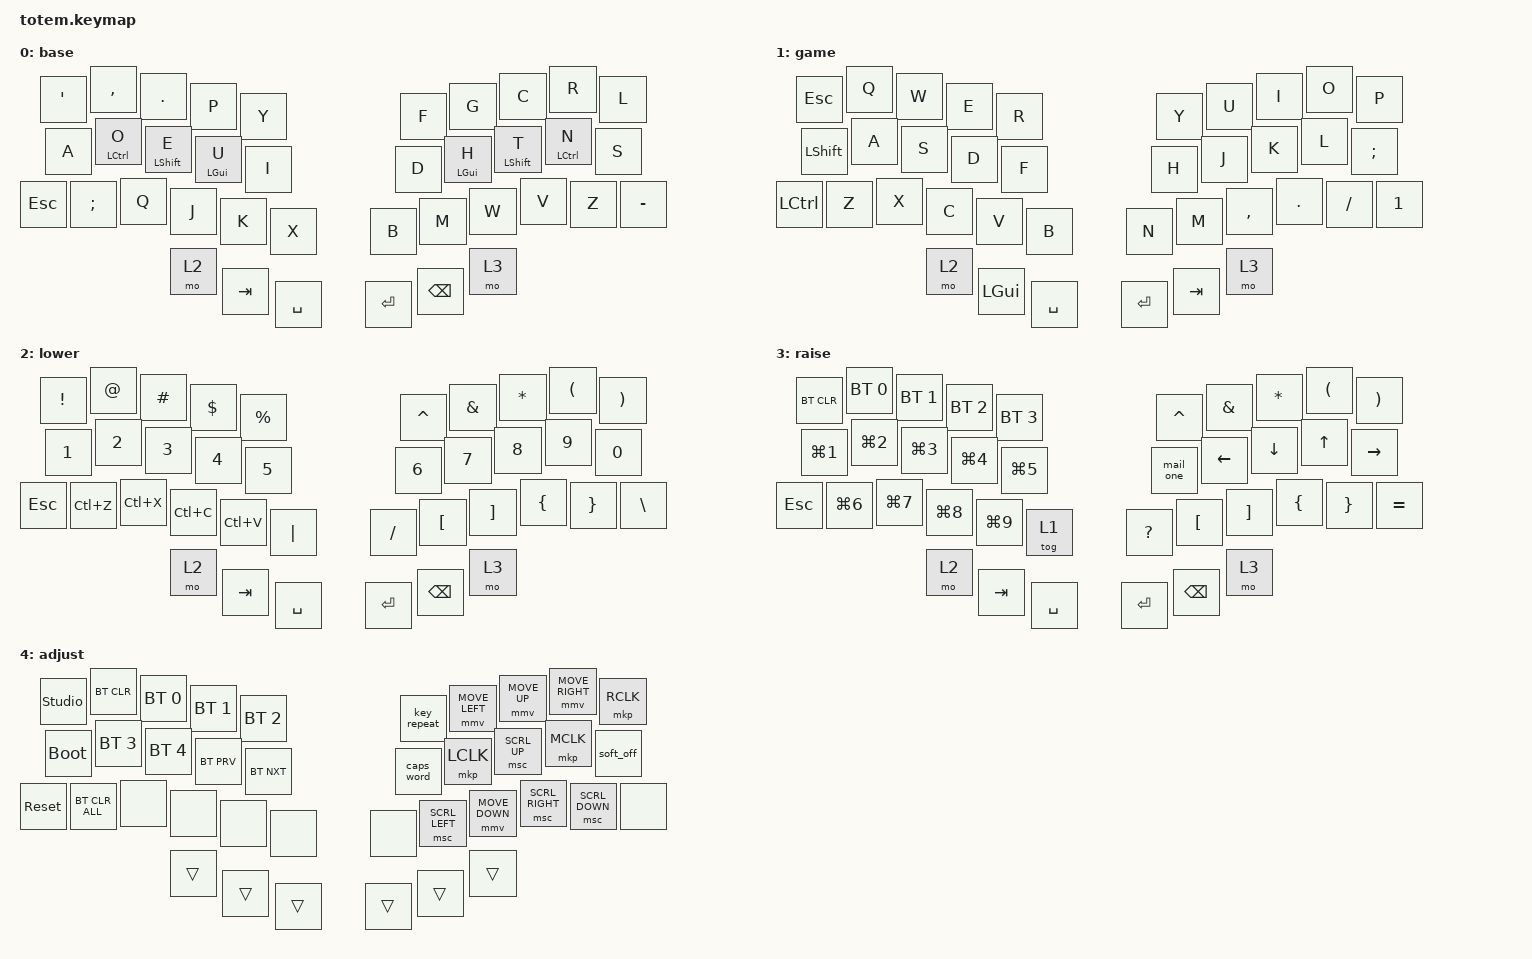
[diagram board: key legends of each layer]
#include <behaviors.dtsi>
#include <dt-bindings/zmk/bt.h>
#include <dt-bindings/zmk/keys.h>
#include <dt-bindings/zmk/pointing.h>

/ {
    behaviors {
        hml: home_row_mod_left {
            compatible = "zmk,behavior-hold-tap";
            #binding-cells = <2>;
            flavor = "balanced";
            tapping-term-ms = <280>;
            quick-tap-ms = <175>;
            require-prior-idle-ms = <125>;
            bindings = <&kp>, <&kp>;
            hold-trigger-key-positions = <5 6 7 8 9 15 16 17 18 19 26 27 28 29 30 31 35 36 37>;
            hold-trigger-on-release;
        };

        hmr: home_row_mod_right {
            compatible = "zmk,behavior-hold-tap";
            #binding-cells = <2>;
            flavor = "balanced";
            tapping-term-ms = <280>;
            quick-tap-ms = <175>;
            require-prior-idle-ms = <125>;
            bindings = <&kp>, <&kp>;
            hold-trigger-key-positions = <0 1 2 3 4 10 11 12 13 14 20 21 22 23 24 25 32 33 34>;
            hold-trigger-on-release;
        };
    };

    combos {
        compatible = "zmk,combos";

        combo_esc {
            timeout-ms = <50>;
            key-positions = <0 1>;
            bindings = <&kp ESC>;
        };
    };

    macros {
        mail_one: mail_one {
            compatible = "zmk,behavior-macro";
            #binding-cells = <0>;
            bindings = <&macro_tap &kp S &kp S &kp R &kp I &kp J &kp I &kp I &kp T &kp H &kp AT &kp G &kp M &kp A &kp I &kp L &kp DOT &kp C &kp O &kp M>;
        };
    };

    conditional_layers {
        compatible = "zmk,conditional-layers";

        adjust_layer {
            if-layers = <2 3>;
            then-layer = <4>;
        };
    };

    keymap {
        compatible = "zmk,keymap";

        default_layer {
            display-name = "base";
//          +-----+-----+-----+-----+-----+         +-----+-----+-----+-----+-----+
//          |  '  |  ,  |  .  |  P  |  Y  |         |  F  |  G  |  C  |  R  |  L  |
//          +-----+-----+-----+-----+-----+         +-----+-----+-----+-----+-----+
//          |  A  |C/O  |S/E  |G/U  |  I  |         |  D  |G/H  |S/T  |C/N  |  S  |
//    +-----+-----+-----+-----+-----+-----+         +-----+-----+-----+-----+-----+-----+
//    | ESC |  ;  |  Q  |  J  |  K  |  X  |         |  B  |  M  |  W  |  V  |  Z  |  -  |
//    +-----+-----+-----+-----+-----+-----+         +-----+-----+-----+-----+-----+-----+
//                         +-----+-----+-----+   +-----+-----+-----+
//                         | LWR | TAB | SPC |   | ENT |  <- | RSE |
//                         +-----+-----+-----+   +-----+-----+-----+
            bindings = <
                &kp SQT   &kp COMMA &kp DOT &kp P    &kp Y      &kp F   &kp G    &kp C     &kp R     &kp L
                &kp A     &hml LCTRL O &hml LSHFT E &hml LGUI U &kp I      &kp D   &hmr LGUI H &hmr LSHFT T &hmr LCTRL N &kp S
       &kp ESC  &kp SEMI  &kp Q     &kp J   &kp K    &kp X      &kp B   &kp M    &kp W     &kp V     &kp Z  &kp MINUS
                                    &mo 2   &kp TAB  &kp SPACE  &kp RET &kp BSPC &mo 3
            >;
        };

        qwerty_layer {
            display-name = "game";
//          +-----+-----+-----+-----+-----+         +-----+-----+-----+-----+-----+
//          | ESC |  Q  |  W  |  E  |  R  |         |  Y  |  U  |  I  |  O  |  P  |
//          +-----+-----+-----+-----+-----+         +-----+-----+-----+-----+-----+
//          |SHFT |  A  |  S  |  D  |  F  |         |  H  |  J  |  K  |  L  |  ;  |
//    +-----+-----+-----+-----+-----+-----+         +-----+-----+-----+-----+-----+-----+
//    |CTRL |  Z  |  X  |  C  |  V  |  B  |         |  N  |  M  |  ,  |  .  |  /  |  1  |
//    +-----+-----+-----+-----+-----+-----+         +-----+-----+-----+-----+-----+-----+
//                         +-----+-----+-----+   +-----+-----+-----+
//                         | LWR | GUI | SPC |   | ENT | TAB | RSE |
//                         +-----+-----+-----+   +-----+-----+-----+
            bindings = <
                &kp ESC   &kp Q &kp W &kp E &kp R      &kp Y &kp U &kp I     &kp O   &kp P
                &kp LSHFT &kp A &kp S &kp D &kp F      &kp H &kp J &kp K     &kp L   &kp SEMI
      &kp LCTRL &kp Z     &kp X &kp C &kp V &kp B      &kp N &kp M &kp COMMA &kp DOT &kp FSLH &kp N1
                             &mo 2 &kp LGUI &kp SPACE  &kp RET   &kp TAB &mo 3
            >;
        };

        lower_layer {
            display-name = "lower";
//          +-----+-----+-----+-----+-----+         +-----+-----+-----+-----+-----+
//          |  !  |  @  |  #  |  $  |  %  |         |  ^  |  &  |  *  |  (  |  )  |
//          +-----+-----+-----+-----+-----+         +-----+-----+-----+-----+-----+
//          |  1  |  2  |  3  |  4  |  5  |         |  6  |  7  |  8  |  9  |  0  |
//    +-----+-----+-----+-----+-----+-----+         +-----+-----+-----+-----+-----+-----+
//    | ESC |UNDO | CUT | CPY | PST |PIPE |         |  /  |  [  |  ]  |  {  |  }  |  \  |
//    +-----+-----+-----+-----+-----+-----+         +-----+-----+-----+-----+-----+-----+
//                         +-----+-----+-----+   +-----+-----+-----+
//                         | LWR | TAB | SPC |   | ENT |  <- | RSE |
//                         +-----+-----+-----+   +-----+-----+-----+
            bindings = <
                &kp EXCL  &kp AT    &kp HASH  &kp DLLR  &kp PRCNT      &kp CARET &kp AMPS &kp ASTRK &kp LPAR &kp RPAR
                &kp N1    &kp N2    &kp N3    &kp N4    &kp N5         &kp N6    &kp N7   &kp N8    &kp N9   &kp N0
       &kp ESC  &kp LC(Z) &kp LC(X) &kp LC(C) &kp LC(V) &kp PIPE       &kp FSLH  &kp LBKT &kp RBKT &kp LBRC &kp RBRC &kp BSLH
                                    &mo 2     &kp TAB   &kp SPACE      &kp RET   &kp BSPC &mo 3
            >;
        };

        raise_layer {
            display-name = "raise";
//          +-----+-----+-----+-----+-----+         +-----+-----+-----+-----+-----+
//          |BTCLR| BT0 | BT1 | BT2 | BT3 |         |  ^  |  &  |  *  |  (  |  )  |
//          +-----+-----+-----+-----+-----+         +-----+-----+-----+-----+-----+
//          | W1  | W2  | W3  | W4  | W5  |         |MAIL |LEFT |DOWN | UP  |RIGHT|
//    +-----+-----+-----+-----+-----+-----+         +-----+-----+-----+-----+-----+-----+
//    | ESC | W6  | W7  | W8  | W9  |GAME |         |  ?  |  [  |  ]  |  {  |  }  |  =  |
//    +-----+-----+-----+-----+-----+-----+         +-----+-----+-----+-----+-----+-----+
//                         +-----+-----+-----+   +-----+-----+-----+
//                         | LWR | TAB | SPC |   | ENT |  <- | RSE |
//                         +-----+-----+-----+   +-----+-----+-----+
            bindings = <
                &bt BT_CLR &bt BT_SEL 0 &bt BT_SEL 1 &bt BT_SEL 2 &bt BT_SEL 3    &kp CARET &kp AMPS &kp ASTRK &kp LPAR  &kp RPAR
                &kp LG(N1) &kp LG(N2)   &kp LG(N3)   &kp LG(N4)   &kp LG(N5)      &mail_one &kp LEFT &kp DOWN  &kp UP    &kp RIGHT
       &kp ESC  &kp LG(N6) &kp LG(N7)   &kp LG(N8)   &kp LG(N9) &tog 1            &kp QMARK  &kp LBKT &kp RBKT  &kp LBRC  &kp RBRC &kp EQUAL
                                            &mo 2    &kp TAB    &kp SPACE         &kp RET   &kp BSPC  &mo 3
            >;
        };

        adjust_layer {
            display-name = "adjust";
//          +-----+-----+-----+-----+-----+         +-----+-----+-----+-----+-----+
//          |STDIO|BTCLR| BT0 | BT1 | BT2 |         | RPT | M-L | M-U | M-R |RCLK |
//          +-----+-----+-----+-----+-----+         +-----+-----+-----+-----+-----+
//          |BOOT | BT3 | BT4 |BTPRV|BTNXT|         |CAPS |LCLK | S-U |MCLK | OFF |
//    +-----+-----+-----+-----+-----+-----+         +-----+-----+-----+-----+-----+-----+
//    |RST  |BTALL|     |     |     |     |         |     | S-L | M-D | S-R | S-D |     |
//    +-----+-----+-----+-----+-----+-----+         +-----+-----+-----+-----+-----+-----+
//                         +-----+-----+-----+   +-----+-----+-----+
//                         |     |     |     |   |     |     |     |
//                         +-----+-----+-----+   +-----+-----+-----+
            bindings = <
                &studio_unlock &bt BT_CLR     &bt BT_SEL 0 &bt BT_SEL 1 &bt BT_SEL 2       &key_repeat &mmv MOVE_LEFT  &mmv MOVE_UP   &mmv MOVE_RIGHT &mkp RCLK
                &bootloader    &bt BT_SEL 3   &bt BT_SEL 4 &bt BT_PRV   &bt BT_NXT         &caps_word  &mkp LCLK       &msc SCRL_UP   &mkp MCLK       &soft_off
                &sys_reset     &bt BT_CLR_ALL &none        &none        &none        &none  &none       &msc SCRL_LEFT  &mmv MOVE_DOWN &msc SCRL_RIGHT &msc SCRL_DOWN &none
                                                           &trans       &trans       &trans             &trans          &trans          &trans
            >;
        };

        extra_layer2 {
            display-name = "extra_layer2";
            status = "reserved";
        };
    };
};
